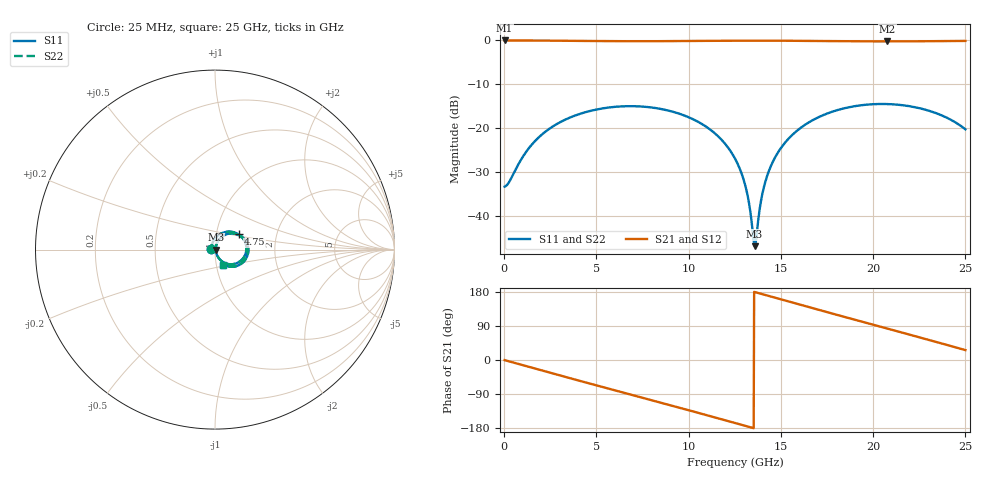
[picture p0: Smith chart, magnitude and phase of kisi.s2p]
! thru_BV_vna_clk_w5_in: 2×thru F.Cu, 6 mm
! stackup: as the board case
! ports: 1 near, 2 far
! kisi-fdtd, conformal, dfine 0.07 mm, 287712 cells
# Hz S RI R 50
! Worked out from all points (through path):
!   1000 points, 25 MHz to 25 GHz, reference 50 ohm
!   highest |S21| = -0.19 dB at 25 MHz (marker M1); lowest = -0.4 dB at 20.77 GHz (marker M2)
!   group delay of S21, straight-line fit = 37.1 ps
!   lowest |S11| = -46.9 dB at 13.57 GHz (marker M3), VSWR 1.01, Z = 50.5 - j0.0352 ohm
!   |S11| at or under -10 dB: start of sweep to end of sweep
!   |S22| runs from -46.9 to -14.6 dB; largest |S21 - S12| = 0
!   S11 on the Smith chart (normalised r, x): 25 MHz: 0.96, +0.00; 4.75 GHz: 1.28, +0.22; 25 GHz: 1.08, -0.18
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2.5e7  -0.0213 0.00117  0.9789 -0.00577  0.9789 -0.00577  -0.0213 0.00117
1.85e9  0.0132 0.0755  0.8852 -0.4121  0.8852 -0.4121  0.0132 0.0755
4.2e9  0.1102 0.095  0.5357 -0.8054  0.5357 -0.8054  0.1102 0.095
4.75e9  0.1313 0.0849  0.4285 -0.8645  0.4285 -0.8645  0.1313 0.0849
6.55e9  0.1733 0.0246  0.0464 -0.9587  0.0464 -0.9587  0.1733 0.0246
8.35e9  0.1587 -0.0457  -0.3404 -0.8982  -0.3404 -0.8982  0.1587 -0.0457
1.09e10  0.0676 -0.0792  -0.7884 -0.562  -0.7884 -0.562  0.0676 -0.0792
1.1825e10  0.0347 -0.0622  -0.8933 -0.3805  -0.8933 -0.3805  0.0347 -0.0622
1.2525e10  0.0164 -0.0408  -0.9452 -0.2291  -0.9452 -0.2291  0.0164 -0.0408
1.31e10  0.00736 -0.0194  -0.9682 -0.0991  -0.9682 -0.0991  0.00736 -0.0194
1.3575e10  0.00448 -0.000349  -0.9735 0.0102  -0.9735 0.0102  0.00448 -0.000349
1.3675e10  0.00443 0.00373  -0.973 0.0332  -0.973 0.0332  0.00443 0.00373
1.39e10  0.00503 0.0129  -0.9698 0.085  -0.9698 0.085  0.00503 0.0129
1.4075e10  0.00617 0.02  -0.9653 0.1251  -0.9653 0.1251  0.00617 0.02
1.4575e10  0.0126 0.0394  -0.9433 0.2382  -0.9433 0.2382  0.0126 0.0394
1.545e10  0.0343 0.0681  -0.8725 0.4262  -0.8725 0.4262  0.0343 0.0681
1.6675e10  0.0802 0.0893  -0.712 0.6542  -0.712 0.6542  0.0802 0.0893
1.875e10  0.1601 0.0614  -0.3227 0.9029  -0.3227 0.9029  0.1601 0.0614
2.0775e10  0.1844 -0.018  0.1188 0.9477  0.1188 0.9477  0.1844 -0.018
2.085e10  0.1838 -0.0212  0.1352 0.9455  0.1352 0.9455  0.1838 -0.0212
2.2825e10  0.1353 -0.0855  0.5417 0.7914  0.5417 0.7914  0.1353 -0.0855
2.5e10  0.0471 -0.0833  0.8683 0.426  0.8683 0.426  0.0471 -0.0833
